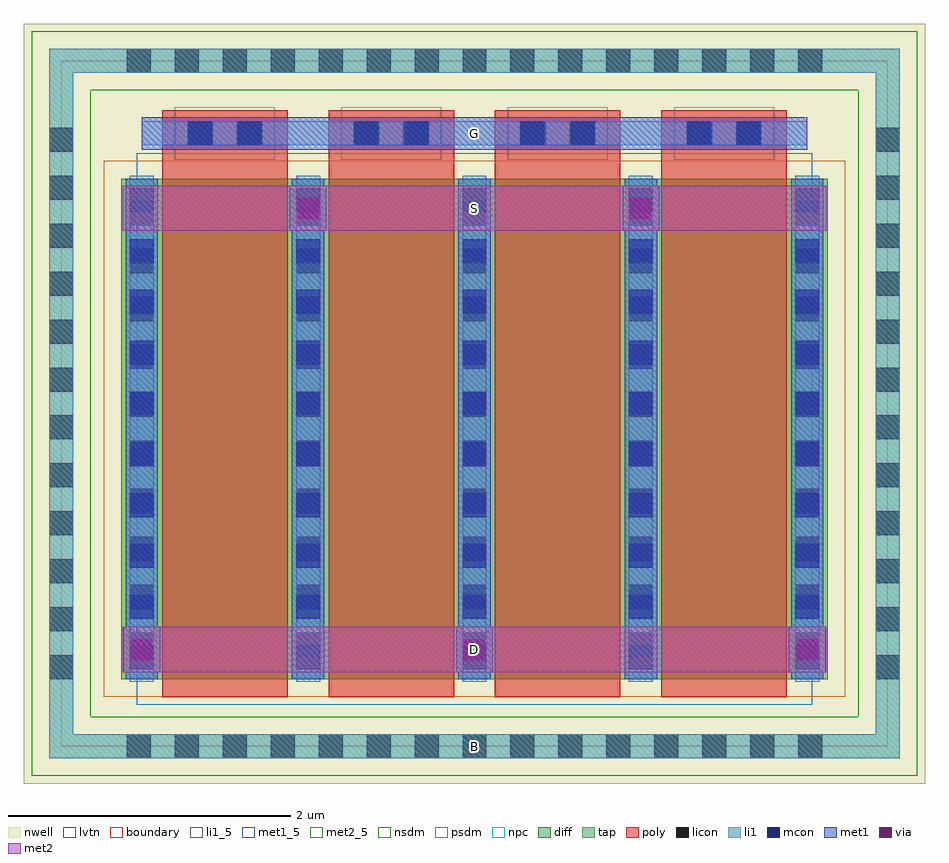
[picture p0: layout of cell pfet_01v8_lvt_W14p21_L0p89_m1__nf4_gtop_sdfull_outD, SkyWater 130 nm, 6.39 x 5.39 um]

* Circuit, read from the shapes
.subckt pfet_01v8_lvt_W14p21_L0p89_m1__nf4_gtop_sdfull_outD B D G S
XM1 S G D B sky130_fd_pr__pfet_01v8_lvt w=3.55 l=0.89 m=4
.ends

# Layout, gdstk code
import gdstk
lib = gdstk.Library(unit=1e-6, precision=1e-09)
def R(c, l, rs):  # rectangles x0, y0, x1, y1
    for r in rs: c.add(gdstk.rectangle(r[:2], r[2:], *l))
def A(c, l, x, y, w, h, nx, ny, dx, dy):  # array of equal rectangles
    R(c, l, [(x+i*dx, y+j*dy, x+i*dx+w, y+j*dy+h) for i in range(nx) for j in range(ny)])
nwell = (64, 20)
diff = (65, 20)
tap = (65, 44)
poly = (66, 20)
licon = (66, 44)
li1_5 = (67, 5)
li1 = (67, 20)
mcon = (67, 44)
met1_5 = (68, 5)
met1 = (68, 20)
via = (68, 44)
met2_5 = (69, 5)
met2 = (69, 20)
nsdm = (93, 44)
psdm = (94, 20)
npc = (95, 20)
lvtn = (125, 44)
boundary = (235, 4)

sky130_fd_pr__pfet_01v8_ = lib.new_cell('sky130_fd_pr__pfet_01v8_lvt_2PGX2Y')
R(sky130_fd_pr__pfet_01v8_, nwell, [(-3.195,-2.695,3.195,2.695)])
R(sky130_fd_pr__pfet_01v8_, diff, [(-2.505,-1.955,2.505,1.595)])
R(sky130_fd_pr__pfet_01v8_, tap, [(-3.015,-2.515,3.015,-2.345), (-3.015,-2.345,-2.845,2.345), (2.845,-2.345,3.015,2.345), (-3.015,2.345,3.015,2.515)])
A(sky130_fd_pr__pfet_01v8_, poly, -2.215, -2.085, 0.89, 4.165, 4, 1, 1.18, 0)
A(sky130_fd_pr__pfet_01v8_, licon, -2.465, -2.515, 0.17, 0.17, 15, 2, 0.34, 4.86)
A(sky130_fd_pr__pfet_01v8_, licon, -3.015, -1.955, 0.17, 0.17, 1, 12, 0, 0.34)
A(sky130_fd_pr__pfet_01v8_, licon, 2.845, -1.955, 0.17, 0.17, 1, 12, 0, 0.34)
A(sky130_fd_pr__pfet_01v8_, licon, -2.445, -1.795, 0.17, 0.17, 5, 10, 1.18, 0.34)
R(sky130_fd_pr__pfet_01v8_, licon, [(-2.025,1.83,-1.855,2), (-1.685,1.83,-1.515,2), (-0.845,1.83,-0.675,2), (-0.505,1.83,-0.335,2), (0.335,1.83,0.505,2), (0.675,1.83,0.845,2), (1.515,1.83,1.685,2), (1.855,1.83,2.025,2)])
A(sky130_fd_pr__pfet_01v8_, li1, -2.445, -1.975, 0.17, 3.59, 5, 1, 1.18, 0)
R(sky130_fd_pr__pfet_01v8_, li1, [(-3.015,-2.515,3.015,-2.345), (-3.015,-2.345,-2.845,2.345), (2.845,-2.345,3.015,2.345), (-2.36,1.83,2.36,2), (-3.015,2.345,3.015,2.515)])
A(sky130_fd_pr__pfet_01v8_, mcon, -2.445, -1.885, 0.17, 0.17, 5, 10, 1.18, 0.36)
R(sky130_fd_pr__pfet_01v8_, mcon, [(-2.035,1.83,-1.865,2), (-1.675,1.83,-1.505,2), (-0.855,1.83,-0.685,2), (-0.495,1.83,-0.325,2), (0.325,1.83,0.495,2), (0.685,1.83,0.855,2), (1.505,1.83,1.675,2), (1.865,1.83,2.035,2)])
A(sky130_fd_pr__pfet_01v8_, met1, -2.475, -1.955, 0.23, 3.55, 5, 1, 1.18, 0)
A(sky130_fd_pr__pfet_01v8_, met1, -2.195, 1.8, 0.85, 0.03, 4, 2, 1.18, 0.2)
R(sky130_fd_pr__pfet_01v8_, met1, [(-2.36,1.83,2.36,2)])
R(sky130_fd_pr__pfet_01v8_, nsdm, [(-3.14,-2.64,3.14,-2.22), (-3.14,-2.22,-2.72,2.22), (2.72,-2.22,3.14,2.22), (-3.14,2.22,3.14,2.64)])
R(sky130_fd_pr__pfet_01v8_, psdm, [(-2.63,-2.08,2.63,1.72)])
A(sky130_fd_pr__pfet_01v8_, npc, -2.125, 1.73, 0.71, 0.37, 4, 1, 1.18, 0)
R(sky130_fd_pr__pfet_01v8_, lvtn, [(-2.395,-2.135,2.395,1.775)])
R(sky130_fd_pr__pfet_01v8_, boundary, [(-2.93,-2.43,2.93,2.43)])
sky130_fd_pr__pfet_01v8_.add(gdstk.Label('B', (0,-2.43), layer=67, texttype=5))
sky130_fd_pr__pfet_01v8_.add(gdstk.Label('D0', (-2.36,-0.18), layer=67, texttype=5))
sky130_fd_pr__pfet_01v8_.add(gdstk.Label('G', (1.77,1.915), layer=67, texttype=5))
sky130_fd_pr__pfet_01v8_.add(gdstk.Label('G', (0.59,1.915), layer=67, texttype=5))
sky130_fd_pr__pfet_01v8_.add(gdstk.Label('G', (-0.59,1.915), layer=67, texttype=5))
sky130_fd_pr__pfet_01v8_.add(gdstk.Label('G', (-1.77,1.915), layer=67, texttype=5))
sky130_fd_pr__pfet_01v8_.add(gdstk.Label('S1', (-1.18,-0.18), layer=67, texttype=5))
sky130_fd_pr__pfet_01v8_.add(gdstk.Label('D2', (0,-0.18), layer=67, texttype=5))
sky130_fd_pr__pfet_01v8_.add(gdstk.Label('S3', (1.18,-0.18), layer=67, texttype=5))

pfet_01v8_lvt_w14p21_l0p = lib.new_cell('pfet_01v8_lvt_W14p21_L0p89_m1__nf4_gtop_sdfull_outD')
R(pfet_01v8_lvt_w14p21_l0p, li1_5, [(2.845,-0.085,3.015,0.085)])
R(pfet_01v8_lvt_w14p21_l0p, li1, [(2.845,-0.085,3.015,0.085)])
R(pfet_01v8_lvt_w14p21_l0p, met1_5, [(0.57,4.23,5.29,4.46)])
A(pfet_01v8_lvt_w14p21_l0p, met1, 0.44, 0.525, 0.26, 0.32, 3, 1, 2.36, 0)
R(pfet_01v8_lvt_w14p21_l0p, met1, [(1.62,3.655,1.88,3.975), (3.98,3.655,4.24,3.975), (0.57,4.23,5.29,4.46)])
A(pfet_01v8_lvt_w14p21_l0p, via, 0.495, 0.61, 0.15, 0.15, 3, 1, 2.36, 0)
R(pfet_01v8_lvt_w14p21_l0p, via, [(1.675,3.74,1.825,3.89), (4.035,3.74,4.185,3.89)])
R(pfet_01v8_lvt_w14p21_l0p, met2_5, [(0.435,0.525,5.425,0.845), (0.435,3.655,5.425,3.975)])
R(pfet_01v8_lvt_w14p21_l0p, met2, [(0.435,0.525,5.425,0.845), (0.435,3.655,5.425,3.975)])
pfet_01v8_lvt_w14p21_l0p.add(gdstk.Reference(sky130_fd_pr__pfet_01v8_, (2.93,2.43)))
pfet_01v8_lvt_w14p21_l0p.add(gdstk.Label('S', (2.93,3.815), layer=69, texttype=5))
pfet_01v8_lvt_w14p21_l0p.add(gdstk.Label('D', (2.93,0.685), layer=69, texttype=5))
pfet_01v8_lvt_w14p21_l0p.add(gdstk.Label('G', (2.93,4.345), layer=68, texttype=5))
pfet_01v8_lvt_w14p21_l0p.add(gdstk.Label('B', (2.93,0), layer=67, texttype=5))

lib.write_gds('pfet_01v8_lvt_W14p21_L0p89_m1__nf4_gtop_sdfull_outD.gds')
